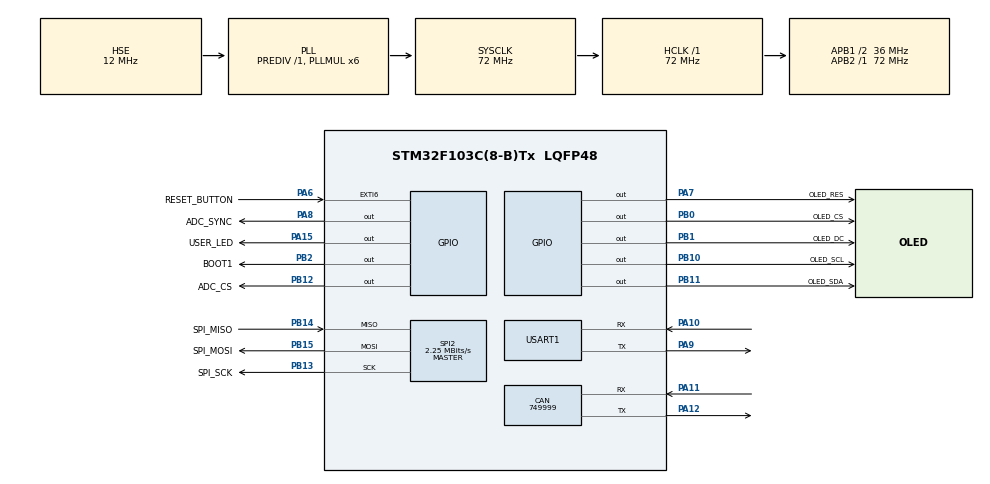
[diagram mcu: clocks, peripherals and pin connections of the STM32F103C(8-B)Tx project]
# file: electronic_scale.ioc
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CAN.CalculateBaudRate=749999
CAN.CalculateTimeBit=1333
CAN.CalculateTimeQuantum=444.44444444444446
Mcu.Family=STM32F1
Mcu.Name=STM32F103C(8-B)Tx
Mcu.Package=LQFP48
NVIC.EXTI9_5_IRQn=true\:0\:0\:false\:false\:true\:true\:true\:true
NVIC.PriorityGroup=NVIC_PRIORITYGROUP_4
NVIC.USART1_IRQn=true\:0\:0\:false\:false\:true\:true\:true\:true
PA10.Mode=Asynchronous
PA10.Signal=USART1_RX
PA11.Mode=CAN_Activate
PA11.Signal=CAN_RX
PA12.Mode=CAN_Activate
PA12.Signal=CAN_TX
PA13.Mode=Serial_Wire
PA13.Signal=SYS_JTMS-SWDIO
PA14.Mode=Serial_Wire
PA14.Signal=SYS_JTCK-SWCLK
PA15.GPIO_Label=USER_LED
PA15.PinState=GPIO_PIN_SET
PA15.Signal=GPIO_Output
PA6.GPIO_Label=RESET_BUTTON
PA6.GPIO_ModeDefaultEXTI=GPIO_MODE_IT_FALLING
PA6.GPIO_PuPd=GPIO_PULLUP
PA6.Signal=GPXTI6
PA7.GPIO_Label=OLED_RES
PA7.GPIO_Speed=GPIO_SPEED_FREQ_HIGH
PA7.PinState=GPIO_PIN_SET
PA7.Signal=GPIO_Output
PA8.GPIO_Label=ADC_SYNC
PA8.Signal=GPIO_Output
PA9.Mode=Asynchronous
PA9.Signal=USART1_TX
PB0.GPIO_Label=OLED_CS
PB0.GPIO_PuPd=GPIO_NOPULL
PB0.GPIO_Speed=GPIO_SPEED_FREQ_HIGH
PB0.PinState=GPIO_PIN_SET
PB0.Signal=GPIO_Output
PB1.GPIO_Label=OLED_DC
PB1.GPIO_Speed=GPIO_SPEED_FREQ_HIGH
PB1.PinState=GPIO_PIN_SET
PB1.Signal=GPIO_Output
PB10.GPIO_Label=OLED_SCL
PB10.GPIO_Speed=GPIO_SPEED_FREQ_HIGH
PB10.PinState=GPIO_PIN_SET
PB10.Signal=GPIO_Output
PB11.GPIO_Label=OLED_SDA
PB11.GPIO_Speed=GPIO_SPEED_FREQ_HIGH
PB11.PinState=GPIO_PIN_SET
PB11.Signal=GPIO_Output
PB12.GPIO_Label=ADC_CS
PB12.GPIO_Speed=GPIO_SPEED_FREQ_HIGH
PB12.PinState=GPIO_PIN_SET
PB12.Signal=GPIO_Output
PB13.GPIO_Label=SPI_SCK
PB13.Mode=Full_Duplex_Master
PB13.Signal=SPI2_SCK
PB14.GPIO_Label=SPI_MISO
PB14.Mode=Full_Duplex_Master
PB14.Signal=SPI2_MISO
PB15.GPIO_Label=SPI_MOSI
PB15.Mode=Full_Duplex_Master
PB15.Signal=SPI2_MOSI
PB2.GPIO_Label=BOOT1
PB2.Signal=GPIO_Output
PD0-OSC_IN.Mode=HSE-External-Oscillator
PD0-OSC_IN.Signal=RCC_OSC_IN
PD1-OSC_OUT.Mode=HSE-External-Oscillator
PD1-OSC_OUT.Signal=RCC_OSC_OUT
ProjectManager.HeapSize=0x200
ProjectManager.StackSize=0x400
ProjectManager.TargetToolchain=MDK-ARM V5.32
RCC.AHBFreq_Value=72000000
RCC.APB1CLKDivider=RCC_HCLK_DIV2
RCC.APB1Freq_Value=36000000
RCC.APB1TimFreq_Value=72000000
RCC.APB2Freq_Value=72000000
RCC.APB2TimFreq_Value=72000000
RCC.HCLKFreq_Value=72000000
RCC.HSE_VALUE=12000000
RCC.PLLMUL=RCC_PLL_MUL6
RCC.PLLSourceVirtual=RCC_PLLSOURCE_HSE
RCC.SYSCLKFreq_VALUE=72000000
RCC.SYSCLKSource=RCC_SYSCLKSOURCE_PLLCLK
RCC.USBFreq_Value=72000000
SPI2.BaudRatePrescaler=SPI_BAUDRATEPRESCALER_16
SPI2.CLKPhase=SPI_PHASE_2EDGE
SPI2.CLKPolarity=SPI_POLARITY_HIGH
SPI2.CRCCalculation=SPI_CRCCALCULATION_DISABLE
SPI2.CalculateBaudRate=2.25 MBits/s
SPI2.Direction=SPI_DIRECTION_2LINES
SPI2.Mode=SPI_MODE_MASTER
SPI2.VirtualType=VM_MASTER
USART1.VirtualMode=VM_ASYNC
board=custom

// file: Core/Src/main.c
/* USER CODE BEGIN Header */
/**
  ******************************************************************************
  * @file           : main.c
  * @brief          : Main program body
  ******************************************************************************
  * @attention
  *
  * Copyright (c) 2026 STMicroelectronics.
  * All rights reserved.
  *
  * This software is licensed under terms that can be found in the LICENSE file
  * in the root directory of this software component.
  * If no LICENSE file comes with this software, it is provided AS-IS.
  *
  ******************************************************************************
  */
/* USER CODE END Header */
#include "main.h"
#include "can.h"
#include "spi.h"
#include "usart.h"
#include "gpio.h"

void SystemClock_Config(void);

int main(void)
{

  /* MCU Configuration--------------------------------------------------------*/

  /* Reset of all peripherals, Initializes the Flash interface and the Systick. */
  HAL_Init();

  /* Configure the system clock */
  SystemClock_Config();

  /* Initialize all configured peripherals */
  MX_GPIO_Init();
  MX_CAN_Init();
  MX_SPI2_Init();
  MX_USART1_UART_Init();
  /* USER CODE BEGIN 2 */

	/*************  OLED初始化  *************/
	OLED_Init();
	LED_On();
	OLED_Fill(0,0,256,64,0x00);
	OLED_ShowString(56,28,"Power On Self Test",16,0);
	Delay_ms(500);
	/************  调试串口初始化  ************/
	Serial_Init();
	printf("System Boot OK! High Precision Scale Starting...\r\n");
	// 假装已经连接上位机
  g_Scale.is_pc_link = 1; // 假装连接上位机，点亮标志
  g_Scale.scale_factor = 0.0001f; // 给个初始极小比例，防止初始乱码

	/************  AD7195相关初始化  ************/
  AD7195_Init();			// 1. 初始化底层外设
	AD_Values_Init();		// 2. 初始化 ADC 数据滤波层
	AD7195_Debug_Dump();// 新增调试：打印初始化后的真实状态

  Scale_App_Init();		// 3. 初始化电子秤应用层

	OLED_Fill(0,0,256,64,0x00);
	OLED_ShowString(104,28,"Finish",16,0);
//	Delay_ms(1000);
//	OLED_Show_Test();
	Delay_ms(500);
	OLED_Fill(0,0,256,64,0x00);
  /* USER CODE END 2 */

  /* Infinite loop */
  /* USER CODE BEGIN WHILE */
  while (1)
  {
		// 1. 获取真实传感器数据并计算 (物理层)
      Scale_App_Task();

      // 2. 解析串口的标定/去皮指令 (控制层)
      Serial_Parse_Command();

      // 3. 刷新屏幕显示 (UI层)
      OLED_Update_Scale_UI();

      HAL_Delay(50); // 控制约 20Hz 刷新率

    /* USER CODE END WHILE */

  }
}

void SystemClock_Config(void)
{
  RCC_OscInitTypeDef RCC_OscInitStruct = {0};
  RCC_ClkInitTypeDef RCC_ClkInitStruct = {0};

  /** Initializes the RCC Oscillators according to the specified parameters
  * in the RCC_OscInitTypeDef structure.
  */
  RCC_OscInitStruct.OscillatorType = RCC_OSCILLATORTYPE_HSE;
  RCC_OscInitStruct.HSEState = RCC_HSE_ON;
  RCC_OscInitStruct.HSEPredivValue = RCC_HSE_PREDIV_DIV1;
  RCC_OscInitStruct.HSIState = RCC_HSI_ON;
  RCC_OscInitStruct.PLL.PLLState = RCC_PLL_ON;
  RCC_OscInitStruct.PLL.PLLSource = RCC_PLLSOURCE_HSE;
  RCC_OscInitStruct.PLL.PLLMUL = RCC_PLL_MUL6;
  if (HAL_RCC_OscConfig(&RCC_OscInitStruct) != HAL_OK)
  {
    Error_Handler();
  }

  /** Initializes the CPU, AHB and APB buses clocks
  */
  RCC_ClkInitStruct.ClockType = RCC_CLOCKTYPE_HCLK|RCC_CLOCKTYPE_SYSCLK
                              |RCC_CLOCKTYPE_PCLK1|RCC_CLOCKTYPE_PCLK2;
  RCC_ClkInitStruct.SYSCLKSource = RCC_SYSCLKSOURCE_PLLCLK;
  RCC_ClkInitStruct.AHBCLKDivider = RCC_SYSCLK_DIV1;
  RCC_ClkInitStruct.APB1CLKDivider = RCC_HCLK_DIV2;
  RCC_ClkInitStruct.APB2CLKDivider = RCC_HCLK_DIV1;

  if (HAL_RCC_ClockConfig(&RCC_ClkInitStruct, FLASH_LATENCY_2) != HAL_OK)
  {
    Error_Handler();
  }
}

void Error_Handler(void)
{
  __disable_irq();
  while (1)
  {
  }
}
